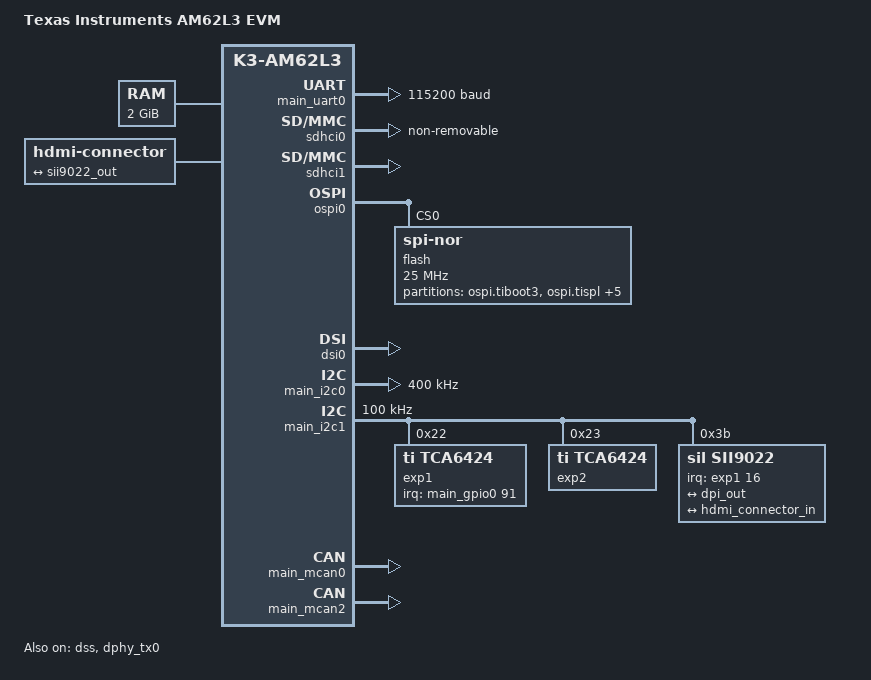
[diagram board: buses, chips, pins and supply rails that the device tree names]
// SPDX-License-Identifier: GPL-2.0-only or MIT
/*
 * Device Tree file for the AM62L3 Starter Kit
 * Copyright (C) 2024 Texas Instruments Incorporated - https://www.ti.com/
 */

/dts-v1/;

#include "k3-am62l3.dtsi"

/ {
	compatible = "ti,am62l3-evm", "ti,am62l3";
	model = "Texas Instruments AM62L3 EVM";

	aliases {
		serial2 = &main_uart0;
		mmc0 = &sdhci0;
		mmc1 = &sdhci1;
	};

	chosen {
		stdout-path = &main_uart0;
	};

	memory@80000000 {
		/* 2G RAM */
		reg = <0x00000000 0x80000000 0x00000000 0x80000000>;
		device_type = "memory";
		bootph-all;
	};

	reserved-memory {
		#address-cells = <2>;
		#size-cells = <2>;
		ranges;

		secure_tfa_ddr: tfa@80000000 {
			reg = <0x00 0x80000000 0x00 0x200000>;
			no-map;
			bootph-all;
		};

		secure_ddr: optee@80100000 {
			reg = <0x00 0x80200000 0x00 0x800000>;
			no-map;
		};
	};

	hdmi0: connector-hdmi {
		compatible = "hdmi-connector";
		label = "hdmi";
		type = "a";

		port {
			hdmi_connector_in: endpoint {
				remote-endpoint = <&sii9022_out>;
			};
		};
	};
};

&pinmux {
	main_i2c0_pins_default: main-i2c0-default-pins {
		pinctrl-single,pins = <
			AM62PX_IOPAD(0x01cc, PIN_INPUT_PULLUP, 0) /* (B7) I2C0_SCL */
			AM62PX_IOPAD(0x01d0, PIN_INPUT_PULLUP, 0) /* (A7) I2C0_SDA */
		>;
		bootph-all;
	};

	main_i2c1_pins_default: main-i2c1-default-pins {
		pinctrl-single,pins = <
			AM62PX_IOPAD(0x01d4, PIN_INPUT_PULLUP, 0) /* (D7) I2C1_SCL */
			AM62PX_IOPAD(0x01d8, PIN_INPUT_PULLUP, 0) /* (A6) I2C1_SDA */
		>;
		bootph-all;
	};

	ospi0_pins_default: ospi0-default-pins {
		pinctrl-single,pins = <
			AM62PX_IOPAD(0x003c, PIN_OUTPUT, 0) /* (D22) OSPI0_CLK */
			AM62PX_IOPAD(0x0068, PIN_OUTPUT, 0) /* (C20) OSPI0_CSn0 */
			AM62PX_IOPAD(0x0074, PIN_OUTPUT, 0) /* (C23) OSPI0_CSn3 */
			AM62PX_IOPAD(0x0048, PIN_INPUT, 0) /* (C22) OSPI0_D0 */
			AM62PX_IOPAD(0x004c, PIN_INPUT, 0) /* (D21) OSPI0_D1 */
			AM62PX_IOPAD(0x0050, PIN_INPUT, 0) /* (E23) OSPI0_D2 */
			AM62PX_IOPAD(0x0054, PIN_INPUT, 0) /* (D23) OSPI0_D3 */
			AM62PX_IOPAD(0x0058, PIN_INPUT, 0) /* (F21) OSPI0_D4 */
			AM62PX_IOPAD(0x005c, PIN_INPUT, 0) /* (F19) OSPI0_D5 */
			AM62PX_IOPAD(0x0060, PIN_INPUT, 0) /* (G20) OSPI0_D6 */
			AM62PX_IOPAD(0x0064, PIN_INPUT, 0) /* (F20) OSPI0_D7 */
			AM62PX_IOPAD(0x0044, PIN_INPUT, 0) /* (E22) OSPI0_DQS */
			AM62PX_IOPAD(0x0040, PIN_INPUT, 0) /* (E18) OSPI0_LBCLKO */
		>;
	};

	main_dpi_pins_default: main-dpi-default-pins {
		pinctrl-single,pins = <
			AM62PX_IOPAD(0x00e4, PIN_OUTPUT, 1) /* (L20) GPMC0_CSn0.VOUT0_VSYNC */
			AM62PX_IOPAD(0x00dc, PIN_OUTPUT, 1) /* (N21) GPMC0_WPn.VOUT0_HSYNC */
			AM62PX_IOPAD(0x00e8, PIN_OUTPUT, 1) /* (L19) GPMC0_CSn1.VOUT0_PCLK */
			AM62PX_IOPAD(0x00e0, PIN_OUTPUT, 1) /* (M21) GPMC0_DIR.VOUT0_DE */
			AM62PX_IOPAD(0x0078, PIN_OUTPUT, 1) /* (L22) GPMC0_AD0.VOUT0_DATA0 */
			AM62PX_IOPAD(0x007c, PIN_OUTPUT, 1) /* (L23) GPMC0_AD1.VOUT0_DATA1 */
			AM62PX_IOPAD(0x0080, PIN_OUTPUT, 1) /* (K22) GPMC0_AD2.VOUT0_DATA2 */
			AM62PX_IOPAD(0x0084, PIN_OUTPUT, 1) /* (J23) GPMC0_AD3.VOUT0_DATA3 */
			AM62PX_IOPAD(0x0088, PIN_OUTPUT, 1) /* (K23) GPMC0_AD4.VOUT0_DATA4 */
			AM62PX_IOPAD(0x008c, PIN_OUTPUT, 1) /* (H22) GPMC0_AD5.VOUT0_DATA5 */
			AM62PX_IOPAD(0x0090, PIN_OUTPUT, 1) /* (H23) GPMC0_AD6.VOUT0_DATA6 */
			AM62PX_IOPAD(0x0094, PIN_OUTPUT, 1) /* (J22) GPMC0_AD7.VOUT0_DATA7 */
			AM62PX_IOPAD(0x0098, PIN_OUTPUT, 1) /* (H19) GPMC0_AD8.VOUT0_DATA8 */
			AM62PX_IOPAD(0x009c, PIN_OUTPUT, 1) /* (H20) GPMC0_AD9.VOUT0_DATA9 */
			AM62PX_IOPAD(0x00a0, PIN_OUTPUT, 1) /* (H21) GPMC0_AD10.VOUT0_DATA10 */
			AM62PX_IOPAD(0x00a4, PIN_OUTPUT, 1) /* (H18) GPMC0_AD11.VOUT0_DATA11 */
			AM62PX_IOPAD(0x00a8, PIN_OUTPUT, 1) /* (G23) GPMC0_AD12.VOUT0_DATA12 */
			AM62PX_IOPAD(0x00ac, PIN_OUTPUT, 1) /* (G22) GPMC0_AD13.VOUT0_DATA13 */
			AM62PX_IOPAD(0x00b0, PIN_OUTPUT, 1) /* (F22) GPMC0_AD14.VOUT0_DATA14 */
			AM62PX_IOPAD(0x00b4, PIN_OUTPUT, 1) /* (F23) GPMC0_AD15.VOUT0_DATA15 */
			AM62PX_IOPAD(0x00b8, PIN_OUTPUT, 1) /* (L21) GPMC0_CLK.VOUT0_DATA16 */
			AM62PX_IOPAD(0x00c0, PIN_OUTPUT, 1) /* (N19) GPMC0_ADVn_ALE.VOUT0_DATA17 */
			AM62PX_IOPAD(0x00c4, PIN_OUTPUT, 1) /* (N20) GPMC0_OEn_REn.VOUT0_DATA18 */
			AM62PX_IOPAD(0x00c8, PIN_OUTPUT, 1) /* (M19) GPMC0_WEn.VOUT0_DATA19 */
			AM62PX_IOPAD(0x00cc, PIN_OUTPUT, 1) /* (P23) GPMC0_BE0n_CLE.VOUT0_DATA20 */
			AM62PX_IOPAD(0x00d0, PIN_OUTPUT, 1) /* (P22) GPMC0_BE1n.VOUT0_DATA21 */
			AM62PX_IOPAD(0x00d4, PIN_OUTPUT, 1) /* (N23) GPMC0_WAIT0.VOUT0_DATA22 */
			AM62PX_IOPAD(0x00d8, PIN_OUTPUT, 1) /* (N22) GPMC0_WAIT1.VOUT0_DATA23 */
			AM62PX_IOPAD(0x00ec, PIN_OUTPUT, 5) /* (M23) GPMC0_CSn2.VOUT0_EXTPCLKIN */
		>;
		bootph-all;
	};

	main_gpio0_ioexp_intr_pins_default: main-gpio0-ioexp-intr-default-pins {
		pinctrl-single,pins = <
			AM62PX_IOPAD(0x01b0, PIN_INPUT, 7) /* (B12) SPI0_D1.GPIO0_91 */
		>;
		bootph-all;
	};

	main_mmc0_pins_default: main-mmc0-default-pins {
		bootph-all;
		pinctrl-single,pins = <
			AM62PX_IOPAD(0x0214, PIN_INPUT_PULLUP, 0) /* (D2) MMC0_CMD */
			AM62PX_IOPAD(0x020c, PIN_OUTPUT, 0) /* (B2) MMC0_CLK */
			AM62PX_IOPAD(0x0208, PIN_INPUT_PULLUP, 0) /* (D3) MMC0_DAT0 */
			AM62PX_IOPAD(0x0204, PIN_INPUT_PULLUP, 0) /* (D4) MMC0_DAT1 */
			AM62PX_IOPAD(0x0200, PIN_INPUT_PULLUP, 0) /* (C1) MMC0_DAT2 */
			AM62PX_IOPAD(0x01fc, PIN_INPUT_PULLUP, 0) /* (C2) MMC0_DAT3 */
			AM62PX_IOPAD(0x01f8, PIN_INPUT_PULLUP, 0) /* (C4) MMC0_DAT4 */
			AM62PX_IOPAD(0x01f4, PIN_INPUT_PULLUP, 0) /* (B3) MMC0_DAT5 */
			AM62PX_IOPAD(0x01f0, PIN_INPUT_PULLUP, 0) /* (A3) MMC0_DAT6 */
			AM62PX_IOPAD(0x01ec, PIN_INPUT_PULLUP, 0) /* (B4) MMC0_DAT7 */
		>;
	};

	main_mmc1_pins_default: main-mmc1-default-pins {
		bootph-all;
		pinctrl-single,pins = <
			AM62PX_IOPAD(0x0230, PIN_INPUT, 0) /* (Y3) MMC1_CMD */
			AM62PX_IOPAD(0x0228, PIN_OUTPUT, 0) /* (Y2) MMC1_CLK */
			AM62PX_IOPAD(0x0224, PIN_INPUT, 0) /* (AA1) MMC1_DAT0 */
			AM62PX_IOPAD(0x0220, PIN_INPUT_PULLUP, 0) /* (Y4) MMC1_DAT1 */
			AM62PX_IOPAD(0x021c, PIN_INPUT_PULLUP, 0) /* (AA2) MMC1_DAT2 */
			AM62PX_IOPAD(0x0218, PIN_INPUT_PULLUP, 0) /* (AB2) MMC1_DAT3 */
			AM62PX_IOPAD(0x0234, PIN_INPUT, 0) /* (B6) MMC1_SDCD */
		>;
	};

	main_mcan0_pins_default: main-mcan0-pins-default {
		bootph-all;
		pinctrl-single,pins = <
			AM62PX_IOPAD(0x01c8, PIN_INPUT, 0) /* (B15) MCAN0_RX */
			AM62PX_IOPAD(0x01c4, PIN_OUTPUT, 0) /* (B16) MCAN0_TX */
		>;
	};

	main_mcan2_pins_default: main-mcan2-pins-default {
		bootph-all;
		pinctrl-single,pins = <
			AM62PX_IOPAD(0x01bc, PIN_INPUT, 6) /* (B14) UART0_CTSn.MCAN2_RX */
			AM62PX_IOPAD(0x01c0, PIN_OUTPUT, 6) /* (B13) UART0_RTSn.MCAN2_TX */
		>;
	};
};

&main_uart0 {
	current-speed = <115200>;
	status = "okay";
};

&sdhci0 {
	/* eMMC */
	bootph-all;
	disable-wp;
	non-removable;
	pinctrl-names = "default";
	pinctrl-0 = <&main_mmc0_pins_default>;
	status = "okay";
};

&sdhci1 {
	/* SD/MMC */
	bootph-all;
	disable-wp;
	pinctrl-names = "default";
	pinctrl-0 = <&main_mmc1_pins_default>;
	status = "okay";
};

&ospi0 {
	status = "okay"; // enable me for testing OSPI
	pinctrl-names = "default";
	pinctrl-0 = <&ospi0_pins_default>;


	flash@0 {
		compatible = "jedec,spi-nor";
		reg = <0x0>;
		spi-tx-bus-width = <1>;
		spi-rx-bus-width = <1>;
		spi-max-frequency = <25000000>;
		cdns,tshsl-ns = <60>;
		cdns,tsd2d-ns = <60>;
		cdns,tchsh-ns = <60>;
		cdns,tslch-ns = <60>;
		cdns,read-delay = <0>;

		partitions {
			compatible = "fixed-partitions";
			#address-cells = <1>;
			#size-cells = <1>;

			partition@0 {
				label = "ospi.tiboot3";
				reg = <0x0 0x80000>;
			};

			partition@80000 {
				label = "ospi.tispl";
				reg = <0x80000 0x200000>;
			};

			partition@280000 {
				label = "ospi.u-boot";
				reg = <0x280000 0x400000>;
			};

			partition@680000 {
				label = "ospi.env";
				reg = <0x680000 0x40000>;
			};

			partition@6c0000 {
				label = "ospi.env.backup";
				reg = <0x6c0000 0x40000>;
			};

			partition@800000 {
				label = "ospi.rootfs";
				reg = <0x800000 0x37c0000>;
			};

			partition@3fc0000 {
				label = "ospi.phypattern";
				reg = <0x3fc0000 0x20000>;
			};
		};
	};
};

&dss {
	status = "okay";
	pinctrl-names = "default";
	pinctrl-0 = <&main_dpi_pins_default>;
	bootph-all;
};

&dss_ports {
	/* VP1: DPI Output */
	port@0 {
		reg = <0>;

		dpi_out: endpoint {
			remote-endpoint = <&sii9022_in>;
		};
	};
};

&dphy_tx0 {
	status = "okay";
	bootph-all;
};

&dsi0 {
	status = "okay";
	bootph-all;
};

&main_i2c0 {
	status = "okay";
	pinctrl-names = "default";
	pinctrl-0 = <&main_i2c0_pins_default>;
	clock-frequency = <400000>;
	bootph-all;
};

&main_gpio0 {
	status = "okay";
	bootph-all;
};

&main_i2c1 {
	status = "okay";
	pinctrl-names = "default";
	pinctrl-0 = <&main_i2c1_pins_default>;
	clock-frequency = <100000>;
	bootph-all;

	exp1: gpio@22 {
		compatible = "ti,tca6424";
		reg = <0x22>;
		gpio-controller;
		#gpio-cells = <2>;
		gpio-line-names = "", "",
				   "UART1_FET_SEL", "MMC1_SD_EN",
				   "VPP_EN", "EXP_PS_3V3_EN",
				   "UART1_FET_BUF_EN", "",
				   "DSI_GPIO0", "DSI_GPIO1",
				   "", "BT_UART_WAKE_SOC_3V3",
				   "USB_TYPEA_OC_INDICATION", "",
				   "", "WLAN_ALERTn",
				   "HDMI_INTn", "TEST_GPIO2",
				   "MCASP0_FET_EN", "MCASP0_BUF_BT_EN",
				   "MCASP0_FET_SEL", "DSI_EDID",
				   "PD_I2C_IRQ", "IO_EXP_TEST_LED";

		interrupt-parent = <&main_gpio0>;
		interrupts = <91 IRQ_TYPE_EDGE_FALLING>;
		interrupt-controller;
		#interrupt-cells = <2>;

		pinctrl-names = "default";
		pinctrl-0 = <&main_gpio0_ioexp_intr_pins_default>;
		bootph-all;
	};

	exp2: gpio@23 {
		compatible = "ti,tca6424";
		reg = <0x23>;
		gpio-controller;
		#gpio-cells = <2>;
		gpio-line-names = "BT_EN_SOC", "VOUT0_FET_SEL0",
				   "", "",
				   "", "",
				   "", "",
				   "WL_LT_EN", "EXP_PS_5V0_EN",
				   "TP45", "TP48",
				   "TP46", "TP49",
				   "TP47", "TP50",
				   "GPIO_QSPI_NAND_RSTn", "GPIO_HDMI_RSTn",
				   "GPIO_CPSW1_RST", "GPIO_CPSW2_RST",
				   "", "GPIO_AUD_RSTn",
				   "GPIO_eMMC_RSTn", "SoC_WLAN_SDIO_RST";
		bootph-all;
	};

	sii9022: bridge-hdmi@3b {
		compatible = "sil,sii9022";
		reg = <0x3b>;
		interrupt-parent = <&exp1>;
		interrupts = <16 IRQ_TYPE_EDGE_FALLING>;
		#sound-dai-cells = <0>;
		sil,i2s-data-lanes = < 0 >;
		bootph-all;

		ports {
			#address-cells = <1>;
			#size-cells = <0>;

			port@0 {
				reg = <0>;

				sii9022_in: endpoint {
					remote-endpoint = <&dpi_out>;
				};
			};

			port@1 {
				reg = <1>;

				sii9022_out: endpoint {
					remote-endpoint = <&hdmi_connector_in>;
				};
			};
		};
	};
};

&main_mcan0 {
	pinctrl-names = "default";
	pinctrl-0 = <&main_mcan0_pins_default>;
	status = "okay";
};

&main_mcan2 {
	pinctrl-names = "default";
	pinctrl-0 = <&main_mcan2_pins_default>;
	status = "okay";
};
